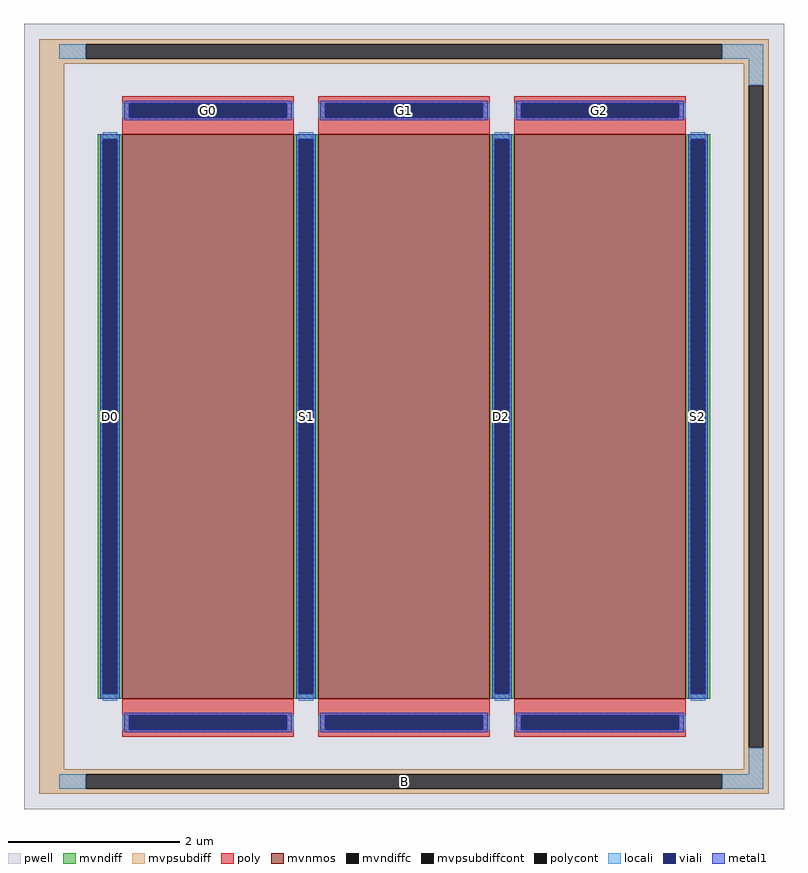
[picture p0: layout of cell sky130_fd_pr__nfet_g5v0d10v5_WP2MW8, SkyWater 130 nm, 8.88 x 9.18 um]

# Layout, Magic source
magic
tech sky130A
magscale 1 2
<< pwell >>
rect -888 -918 888 918
<< mvnmos >>
rect -658 -660 -258 660
rect -200 -660 200 660
rect 258 -660 658 660
<< mvndiff >>
rect -716 648 -658 660
rect -716 -648 -704 648
rect -670 -648 -658 648
rect -716 -660 -658 -648
rect -258 648 -200 660
rect -258 -648 -246 648
rect -212 -648 -200 648
rect -258 -660 -200 -648
rect 200 648 258 660
rect 200 -648 212 648
rect 246 -648 258 648
rect 200 -660 258 -648
rect 658 648 716 660
rect 658 -648 670 648
rect 704 -648 716 648
rect 658 -660 716 -648
<< mvndiffc >>
rect -704 -648 -670 648
rect -246 -648 -212 648
rect 212 -648 246 648
rect 670 -648 704 648
<< mvpsubdiff >>
rect -852 870 852 882
rect -852 836 -744 870
rect 744 836 852 870
rect -852 824 852 836
rect -852 -824 -794 824
rect 794 774 852 824
rect 794 -774 806 774
rect 840 -774 852 774
rect 794 -824 852 -774
rect -852 -836 852 -824
rect -852 -870 -744 -836
rect 744 -870 852 -836
rect -852 -882 852 -870
<< mvpsubdiffcont >>
rect -744 836 744 870
rect 806 -774 840 774
rect -744 -870 744 -836
<< poly >>
rect -658 732 -258 748
rect -658 698 -642 732
rect -274 698 -258 732
rect -658 660 -258 698
rect -200 732 200 748
rect -200 698 -184 732
rect 184 698 200 732
rect -200 660 200 698
rect 258 732 658 748
rect 258 698 274 732
rect 642 698 658 732
rect 258 660 658 698
rect -658 -698 -258 -660
rect -658 -732 -642 -698
rect -274 -732 -258 -698
rect -658 -748 -258 -732
rect -200 -698 200 -660
rect -200 -732 -184 -698
rect 184 -732 200 -698
rect -200 -748 200 -732
rect 258 -698 658 -660
rect 258 -732 274 -698
rect 642 -732 658 -698
rect 258 -748 658 -732
<< polycont >>
rect -642 698 -274 732
rect -184 698 184 732
rect 274 698 642 732
rect -642 -732 -274 -698
rect -184 -732 184 -698
rect 274 -732 642 -698
<< locali >>
rect -806 836 -744 870
rect 744 836 840 870
rect 806 774 840 836
rect -658 698 -642 732
rect -274 698 -258 732
rect -200 698 -184 732
rect 184 698 200 732
rect 258 698 274 732
rect 642 698 658 732
rect -704 648 -670 664
rect -704 -664 -670 -648
rect -246 648 -212 664
rect -246 -664 -212 -648
rect 212 648 246 664
rect 212 -664 246 -648
rect 670 648 704 664
rect 670 -664 704 -648
rect -658 -732 -642 -698
rect -274 -732 -258 -698
rect -200 -732 -184 -698
rect 184 -732 200 -698
rect 258 -732 274 -698
rect 642 -732 658 -698
rect 806 -836 840 -774
rect -806 -870 -744 -836
rect 744 -870 840 -836
<< viali >>
rect -642 698 -274 732
rect -184 698 184 732
rect 274 698 642 732
rect -704 -648 -670 648
rect -246 -648 -212 648
rect 212 -648 246 648
rect 670 -648 704 648
rect -642 -732 -274 -698
rect -184 -732 184 -698
rect 274 -732 642 -698
<< metal1 >>
rect -654 732 -262 738
rect -654 698 -642 732
rect -274 698 -262 732
rect -654 692 -262 698
rect -196 732 196 738
rect -196 698 -184 732
rect 184 698 196 732
rect -196 692 196 698
rect 262 732 654 738
rect 262 698 274 732
rect 642 698 654 732
rect 262 692 654 698
rect -710 648 -664 660
rect -710 -648 -704 648
rect -670 -648 -664 648
rect -710 -660 -664 -648
rect -252 648 -206 660
rect -252 -648 -246 648
rect -212 -648 -206 648
rect -252 -660 -206 -648
rect 206 648 252 660
rect 206 -648 212 648
rect 246 -648 252 648
rect 206 -660 252 -648
rect 664 648 710 660
rect 664 -648 670 648
rect 704 -648 710 648
rect 664 -660 710 -648
rect -654 -698 -262 -692
rect -654 -732 -642 -698
rect -274 -732 -262 -698
rect -654 -738 -262 -732
rect -196 -698 196 -692
rect -196 -732 -184 -698
rect 184 -732 196 -698
rect -196 -738 196 -732
rect 262 -698 654 -692
rect 262 -732 274 -698
rect 642 -732 654 -698
rect 262 -738 654 -732
<< labels >>
rlabel mvpsubdiffcont 0 -853 0 -853 0 B
port 1 nsew
rlabel mvndiffc -687 0 -687 0 0 D0
port 2 nsew
rlabel polycont -458 715 -458 715 0 G0
port 3 nsew
rlabel mvndiffc -229 0 -229 0 0 S1
port 4 nsew
rlabel polycont 0 715 0 715 0 G1
port 5 nsew
rlabel mvndiffc 229 0 229 0 0 D2
port 6 nsew
rlabel mvndiffc 687 0 687 0 0 S2
port 7 nsew
rlabel polycont 458 715 458 715 0 G2
port 8 nsew
<< properties >>
string FIXED_BBOX -823 -853 823 853
string gencell sky130_fd_pr__nfet_g5v0d10v5
string library sky130
string parameters w 6.6 l 2 m 1 nf 3 diffcov 100 polycov 100 guard 1 glc 1 grc 1 gtc 1 gbc 1 tbcov 100 rlcov 100 topc 1 botc 1 poverlap 0 doverlap 1 lmin 0.50 wmin 0.42 class mosfet compatible {sky130_fd_pr__nfet_01v8 sky130_fd_pr__nfet_01v8_lvt  sky130_fd_bs_flash__special_sonosfet_star  sky130_fd_pr__nfet_g5v0d10v5 sky130_fd_pr__nfet_05v0_nvt  sky130_fd_pr__nfet_03v3_nvt} full_metal 1 conn_gates 0 viasrc 100 viadrn 100 viagate 100 viagb 0 viagr 0 viagl 0 viagt 0 doports 1
<< end >>
